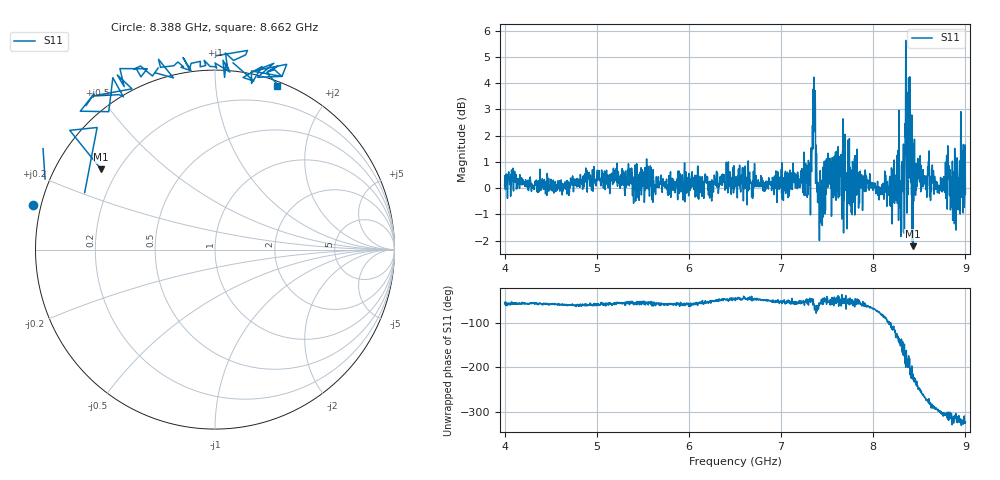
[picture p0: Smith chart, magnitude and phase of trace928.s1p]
! Created with skrf 1.8.0 (http://scikit-rf.org).
# Hz S RI R 50.0
!freq ReS11 ImS11
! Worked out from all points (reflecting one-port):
!   1601 points, 4 GHz to 9 GHz, reference 50 ohm
!   lowest |S11| = -2.2 dB at 8.431 GHz (marker M1), VSWR 7.91, Z = 6.95 + j15.6 ohm
!   phase of S11 starts at -55 deg and turns -268 deg over the sweep
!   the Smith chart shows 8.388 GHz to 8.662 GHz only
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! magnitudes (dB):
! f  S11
! 4 GHz  0.1
! 4.625 GHz  -0.3
! 5.25 GHz  0.2
! 5.875 GHz  -0.1
! 6.5 GHz  0.2
! 7.125 GHz  0.3
! 7.294 GHz  -0.2
! 7.319 GHz  -1.0
! 7.347 GHz  3.8
! 7.359 GHz  2.2
! 7.4 GHz  0.2
! 7.428 GHz  0.2
! 7.509 GHz  1.3
! 7.572 GHz  0.3
! 7.669 GHz  1.5
! 7.703 GHz  0.3
! 7.75 GHz  0.8
! 8.097 GHz  0.1
! 8.262 GHz  -0.6
! 8.316 GHz  0.0
! 8.334 GHz  -0.3
! 8.375 GHz  -0.2
! 8.431 GHz  -2.2
! 8.703 GHz  0.0
! 8.809 GHz  1.6
! 8.856 GHz  0.0
! 8.959 GHz  1.4
! 9 GHz  -0.2
